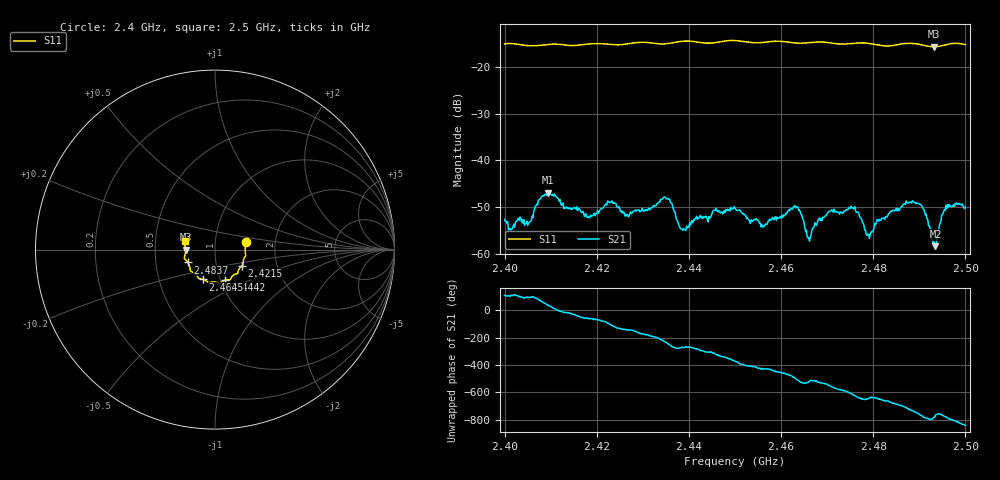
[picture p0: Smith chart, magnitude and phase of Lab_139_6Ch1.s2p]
# Hz S RI R 50
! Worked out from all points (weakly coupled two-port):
!   601 points, 2.4 GHz to 2.5 GHz, reference 50 ohm
!   highest |S21| = -46.93 dB at 2.4093 GHz (marker M1); lowest = -58.4 dB at 2.4935 GHz (marker M2)
!   lowest |S11| = -15.7 dB at 2.4932 GHz (marker M3), VSWR 1.39, Z = 35.9 - j0.0557 ohm
!   |S11| at or under -10 dB: start of sweep to end of sweep
!   S12 and S22 are empty: the file has one direction only
!   S11 on the Smith chart (normalised r, x): 2.4 GHz: 1.41, +0.12; 2.4215 GHz: 1.33, -0.25; 2.4442 GHz: 1.05, -0.37; 2.4645 GHz: 0.83, -0.29; 2.4837 GHz: 0.73, -0.11; 2.5 GHz: 0.71, +0.07
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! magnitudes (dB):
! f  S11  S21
! 2.4 GHz  -15.1  -52.7
! 2.4053 GHz  -15.5  -53.3
! 2.4093 GHz  -15.2  -46.9
! 2.4167 GHz  -15.3  -51.1
! 2.4215 GHz  -15.1  -50.0
! 2.4333 GHz  -15.1  -49.1
! 2.4358 GHz  -15.0  -48.4
! 2.4387 GHz  -14.5  -55.0
! 2.4442 GHz  -15.0  -53.2
! 2.45 GHz  -14.4  -50.2
! 2.4645 GHz  -15.0  -51.7
! 2.4667 GHz  -14.8  -55.1
! 2.471 GHz  -14.9  -50.5
! 2.4757 GHz  -15.0  -50.3
! 2.479 GHz  -15.0  -55.9
! 2.4833 GHz  -15.6  -51.4
! 2.4837 GHz  -15.5  -51.0
! 2.4902 GHz  -15.2  -49.4
! 2.4932 GHz  -15.7  -57.4
! 2.4935 GHz  -15.7  -58.4
! 2.4958 GHz  -15.3  -49.6
! 2.5 GHz  -15.3  -50.0
